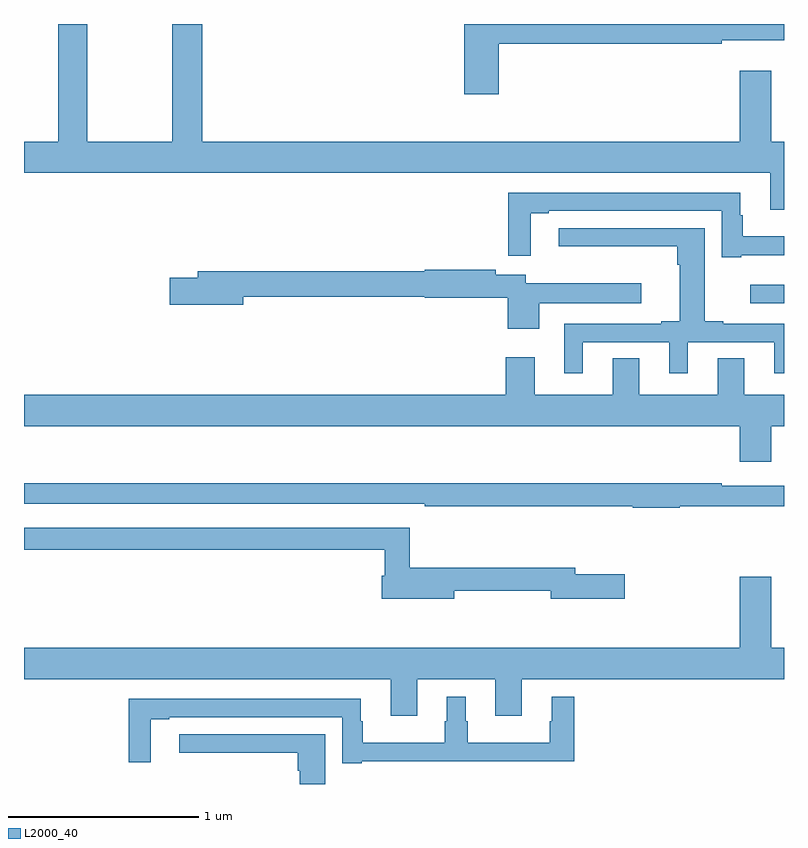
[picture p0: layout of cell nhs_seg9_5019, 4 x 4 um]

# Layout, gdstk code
import gdstk
lib = gdstk.Library(unit=1e-6, precision=1e-09)
def R(c, l, rs):  # rectangles x0, y0, x1, y1
    for r in rs: c.add(gdstk.rectangle(r[:2], r[2:], *l))
def P(c, l, *ps):  # polygons
    for p in ps: c.add(gdstk.Polygon(p, *l))
L2000_40 = (2000, 40)

nhs_seg9_5019 = lib.new_cell('nhs_seg9_5019')
R(nhs_seg9_5019, L2000_40, [(404.823,1233.03,405,1233.127)])
P(nhs_seg9_5019, L2000_40, [(405,1233.88),(404.932,1233.88),(404.932,1234.255),(404.768,1234.255),(404.768,1233.88),(401.939,1233.88),(401.939,1234.5),(401.779,1234.5),(401.779,1233.88),(401.334,1233.88),(401.334,1234.5),(401.179,1234.5),(401.179,1233.88),(401,1233.88),(401,1233.716),(404.927,1233.716),(404.927,1233.522),(405,1233.522)],
  [(403.499,1234.396),(404.672,1234.396),(404.672,1234.415),(405,1234.415),(405,1234.5),(403.316,1234.5),(403.316,1234.131),(403.499,1234.131)],
  [(404.776,1233.284),(405,1233.284),(405,1233.382),(404.782,1233.382),(404.782,1233.494),(404.77,1233.494),(404.77,1233.612),(403.549,1233.612),(403.549,1233.279),(403.666,1233.279),(403.666,1233.504),(403.762,1233.504),(403.762,1233.516),(404.673,1233.516),(404.673,1233.273),(404.776,1233.273)],
  [(403.942,1232.826),(404.396,1232.826),(404.396,1232.661),(404.494,1232.661),(404.494,1232.826),(404.948,1232.826),(404.948,1232.661),(405,1232.661),(405,1232.922),(404.68,1232.922),(404.68,1232.935),(404.584,1232.935),(404.584,1233.426),(403.815,1233.426),(403.815,1233.329),(404.438,1233.329),(404.438,1233.233),(404.45,1233.233),(404.45,1232.935),(404.354,1232.935),(404.354,1232.922),(403.844,1232.922),(403.844,1232.661),(403.942,1232.661)],
  [(403.711,1233.029),(404.248,1233.029),(404.248,1233.136),(403.641,1233.136),(403.641,1233.181),(403.482,1233.181),(403.482,1233.206),(403.11,1233.206),(403.11,1233.2),(401.915,1233.2),(401.915,1233.164),(401.766,1233.164),(401.766,1233.022),(402.154,1233.022),(402.154,1233.064),(403.11,1233.064),(403.11,1233.059),(403.545,1233.059),(403.545,1232.895),(403.711,1232.895)],
  [(404.932,1232.384),(405,1232.384),(405,1232.548),(404.791,1232.548),(404.791,1232.741),(404.651,1232.741),(404.651,1232.548),(404.239,1232.548),(404.239,1232.741),(404.099,1232.741),(404.099,1232.548),(403.687,1232.548),(403.687,1232.746),(403.535,1232.746),(403.535,1232.548),(401,1232.548),(401,1232.384),(404.768,1232.384),(404.768,1232.196),(404.932,1232.196)],
  [(404.452,1231.962),(405,1231.962),(405,1232.07),(404.672,1232.07),(404.672,1232.083),(401,1232.083),(401,1231.974),(403.108,1231.974),(403.108,1231.962),(404.204,1231.962),(404.204,1231.954),(404.452,1231.954)],
  [(403.264,1231.518),(403.772,1231.518),(403.772,1231.475),(404.161,1231.475),(404.161,1231.605),(403.9,1231.605),(403.9,1231.639),(403.031,1231.639),(403.031,1231.848),(401,1231.848),(401,1231.732),(402.899,1231.732),(402.899,1231.597),(402.884,1231.597),(402.884,1231.475),(403.264,1231.475)],
  [(403.069,1231.052),(403.481,1231.052),(403.481,1230.858),(403.621,1230.858),(403.621,1231.052),(405,1231.052),(405,1231.216),(404.932,1231.216),(404.932,1231.591),(404.768,1231.591),(404.768,1231.216),(401,1231.216),(401,1231.052),(402.929,1231.052),(402.929,1230.858),(403.069,1230.858)],
  [(402.778,1230.62),(403.895,1230.62),(403.895,1230.958),(403.778,1230.958),(403.778,1230.83),(403.767,1230.83),(403.767,1230.718),(403.336,1230.718),(403.336,1230.83),(403.324,1230.83),(403.324,1230.958),(403.226,1230.958),(403.226,1230.83),(403.215,1230.83),(403.215,1230.718),(402.784,1230.718),(402.784,1230.83),(402.772,1230.83),(402.772,1230.948),(401.551,1230.948),(401.551,1230.615),(401.668,1230.615),(401.668,1230.84),(401.764,1230.84),(401.764,1230.852),(402.675,1230.852),(402.675,1230.609),(402.778,1230.609)],
  [(402.586,1230.762),(401.817,1230.762),(401.817,1230.665),(402.44,1230.665),(402.44,1230.569),(402.452,1230.569),(402.452,1230.5),(402.586,1230.5)])

lib.write_gds('nhs_seg9_5019.gds')
